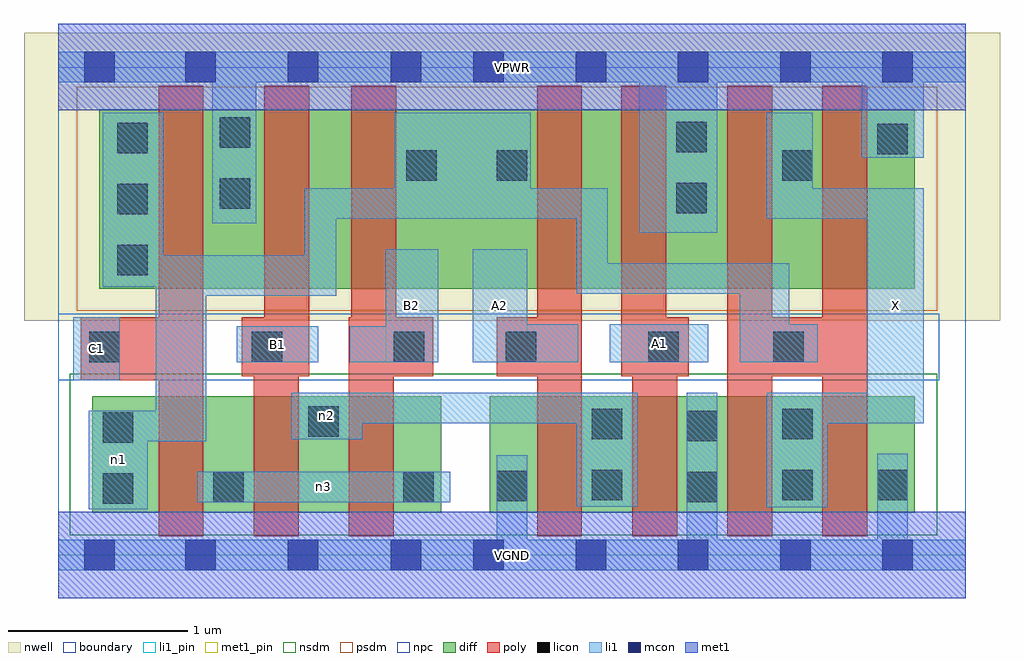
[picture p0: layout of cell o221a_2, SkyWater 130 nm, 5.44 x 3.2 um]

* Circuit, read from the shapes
.subckt o221a_2 A1 A2 B1 B2 C1 VGND VPWR X n1 n2 n3
XM1 n3 C1 n1 VSUBS sky130_fd_pr__nfet_01v8 w=0.65 l=0.25
XM2 n2 B1 n3 VSUBS sky130_fd_pr__nfet_01v8 w=0.65 l=0.25
XM3 n3 B2 n2 VSUBS sky130_fd_pr__nfet_01v8 w=0.65 l=0.25
XM4 n2 A2 VGND VSUBS sky130_fd_pr__nfet_01v8 w=0.65 l=0.25
XM5 VGND A1 n2 VSUBS sky130_fd_pr__nfet_01v8 w=0.65 l=0.25
XM6 X n1 VGND VSUBS sky130_fd_pr__nfet_01v8 w=0.65 l=0.25 m=2
XM7 VPWR C1 n1 n4 sky130_fd_pr__pfet_01v8 w=1 l=0.25
XM8 n5 B1 VPWR n4 sky130_fd_pr__pfet_01v8 w=1 l=0.25
XM9 n1 B2 n5 n4 sky130_fd_pr__pfet_01v8 w=1 l=0.25
XM10 n6 A2 n1 n4 sky130_fd_pr__pfet_01v8 w=1 l=0.25
XM11 VPWR A1 n6 n4 sky130_fd_pr__pfet_01v8 w=1 l=0.25
XM12 X n1 VPWR n4 sky130_fd_pr__pfet_01v8 w=1 l=0.25 m=2
.ends

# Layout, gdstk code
import gdstk
lib = gdstk.Library(unit=1e-6, precision=1e-09)
def R(c, l, rs):  # rectangles x0, y0, x1, y1
    for r in rs: c.add(gdstk.rectangle(r[:2], r[2:], *l))
def A(c, l, x, y, w, h, nx, ny, dx, dy):  # array of equal rectangles
    R(c, l, [(x+i*dx, y+j*dy, x+i*dx+w, y+j*dy+h) for i in range(nx) for j in range(ny)])
nwell = (64, 20)
diff = (65, 20)
poly = (66, 20)
licon = (66, 44)
li1_pin = (67, 16)
li1 = (67, 20)
mcon = (67, 44)
met1_pin = (68, 16)
met1 = (68, 20)
nsdm = (93, 44)
psdm = (94, 20)
npc = (95, 20)
boundary = (235, 4)

o221a_2 = lib.new_cell('o221a_2')
R(o221a_2, nwell, [(-0.19,1.305,5.25,2.91), (0,1.305,5.06,2.91)])
R(o221a_2, diff, [(0.19,0.235,2.135,0.885), (2.405,0.235,4.775,0.885), (0.23,1.485,4.775,2.485)])
R(o221a_2, poly, [(0.56,0.105,0.81,2.615), (1.09,0.105,1.34,1.325), (1.62,0.105,1.87,1.325), (2.67,0.105,2.92,2.615), (3.2,0.105,3.45,1.325), (3.73,0.105,3.98,2.615), (4.26,0.105,4.51,2.615), (0.125,0.975,0.81,1.325), (1.025,0.995,1.4,1.325), (1.15,0.995,1.4,2.615), (1.62,0.995,2.09,1.325), (1.635,0.995,1.885,2.615), (2.445,0.995,2.92,1.325), (3.14,0.995,3.515,1.325), (3.14,0.995,3.39,2.615), (3.73,0.995,4.51,1.325)])
A(o221a_2, licon, 0.33, 1.56, 0.17, 0.17, 1, 3, 0, 0.34)
R(o221a_2, licon, [(0.25,0.285,0.42,0.455), (0.865,0.295,1.035,0.465), (1.925,0.295,2.095,0.465), (3.505,0.295,3.675,0.465), (2.445,0.3,2.615,0.47), (2.975,0.305,3.145,0.475), (4.035,0.305,4.205,0.475), (4.565,0.305,4.735,0.475), (0.25,0.625,0.42,0.795), (3.505,0.635,3.675,0.805), (2.975,0.645,3.145,0.815), (4.035,0.645,4.205,0.815), (1.395,0.66,1.565,0.83), (0.175,1.075,0.345,1.245), (1.08,1.075,1.25,1.245), (1.87,1.075,2.04,1.245), (2.495,1.075,2.665,1.245), (3.29,1.075,3.46,1.245), (3.985,1.075,4.155,1.245), (3.445,1.905,3.615,2.075), (0.9,1.93,1.07,2.1), (1.94,2.085,2.11,2.255), (2.445,2.085,2.615,2.255), (4.035,2.085,4.205,2.255), (4.565,2.235,4.735,2.405), (3.445,2.245,3.615,2.415), (0.9,2.27,1.07,2.44)])
R(o221a_2, li1_pin, [(4.51,0.735,4.825,2.045), (0.085,0.975,0.345,1.325), (0.995,1.075,1.45,1.275), (1.825,1.075,2.12,1.705), (2.31,1.075,2.615,1.705), (3.075,1.075,3.625,1.285)])
R(o221a_2, li1, [(0,-0.085,5.06,0.085), (2.445,-0.085,2.615,0.555), (3.505,-0.085,3.675,0.905), (4.565,-0.085,4.735,0.565), (0.17,0.255,0.5,0.805), (3.95,0.265,4.29,0.905), (2.89,0.27,3.23,0.905), (0.775,0.295,2.185,0.465), (0.17,0.635,0.825,0.805), (0.545,0.635,0.825,1.67), (1.3,0.645,1.695,0.905), (1.3,0.735,3.23,0.905), (3.95,0.735,4.825,0.905), (4.51,0.735,4.825,2.045), (0.085,0.975,0.345,1.325), (0.995,1.075,1.45,1.275), (1.625,1.075,2.12,1.275), (1.825,1.075,2.12,1.705), (2.31,1.075,2.615,1.705), (2.31,1.075,2.9,1.285), (3.075,1.075,3.625,1.285), (3.8,1.075,4.235,1.285), (3.8,1.075,4.075,1.625), (0.545,1.445,1.55,1.67), (1.375,1.445,1.55,2.045), (2.89,1.455,4.075,1.625), (2.89,1.455,3.065,2.045), (0.25,1.495,0.585,2.465), (3.24,1.795,3.675,2.805), (0.86,1.85,1.105,2.805), (1.375,1.875,3.065,2.045), (1.875,1.875,2.635,2.465), (3.95,1.875,4.825,2.045), (3.95,1.875,4.205,2.465), (4.48,2.215,4.825,2.805), (0,2.635,5.06,2.805)])
A(o221a_2, mcon, 2.315, -0.085, 0.17, 0.17, 5, 2, 0.57, 2.72)
R(o221a_2, mcon, [(0.145,-0.085,0.315,0.085), (0.71,-0.085,0.88,0.085), (1.28,-0.085,1.45,0.085), (1.855,-0.085,2.025,0.085), (0.145,2.635,0.315,2.805), (0.71,2.635,0.88,2.805), (1.28,2.635,1.45,2.805), (1.855,2.635,2.025,2.805)])
R(o221a_2, met1_pin, [(0,-0.24,5.06,0.24), (0,2.48,5.06,2.96)])
R(o221a_2, met1, [(0,-0.24,5.06,0.24), (0,2.48,5.06,2.96)])
R(o221a_2, nsdm, [(0.065,0.11,4.9,1.01)])
R(o221a_2, psdm, [(0.105,1.36,4.9,2.61)])
R(o221a_2, npc, [(0,0.975,4.91,1.345)])
R(o221a_2, boundary, [(0,0,5.06,2.72)])
o221a_2.add(gdstk.Label('A1', (3.35,1.18), layer=67, texttype=5))
o221a_2.add(gdstk.Label('A2', (2.462,1.39), layer=67, texttype=5))
o221a_2.add(gdstk.Label('B1', (1.222,1.175), layer=67, texttype=5))
o221a_2.add(gdstk.Label('B2', (1.972,1.39), layer=67, texttype=5))
o221a_2.add(gdstk.Label('C1', (0.215,1.15), layer=67, texttype=5))
o221a_2.add(gdstk.Label('X', (4.667,1.39), layer=67, texttype=5))
o221a_2.add(gdstk.Label('n3', (1.48,0.38), layer=67, texttype=5))
o221a_2.add(gdstk.Label('n2', (1.497,0.775), layer=67, texttype=5))
o221a_2.add(gdstk.Label('n1', (0.335,0.53), layer=67, texttype=5))
o221a_2.add(gdstk.Label('VPWR', (2.53,2.72), layer=68, texttype=5))
o221a_2.add(gdstk.Label('VGND', (2.53,0), layer=68, texttype=5))
o221a_2.add(gdstk.Label('A1', (3.35,1.18), layer=67, texttype=16))
o221a_2.add(gdstk.Label('A2', (2.462,1.39), layer=67, texttype=16))
o221a_2.add(gdstk.Label('B1', (1.222,1.175), layer=67, texttype=16))
o221a_2.add(gdstk.Label('B2', (1.972,1.39), layer=67, texttype=16))
o221a_2.add(gdstk.Label('C1', (0.215,1.15), layer=67, texttype=16))
o221a_2.add(gdstk.Label('X', (4.667,1.39), layer=67, texttype=16))
o221a_2.add(gdstk.Label('VPWR', (2.53,2.72), layer=68, texttype=16))
o221a_2.add(gdstk.Label('VGND', (2.53,0), layer=68, texttype=16))

lib.write_gds('o221a_2.gds')
